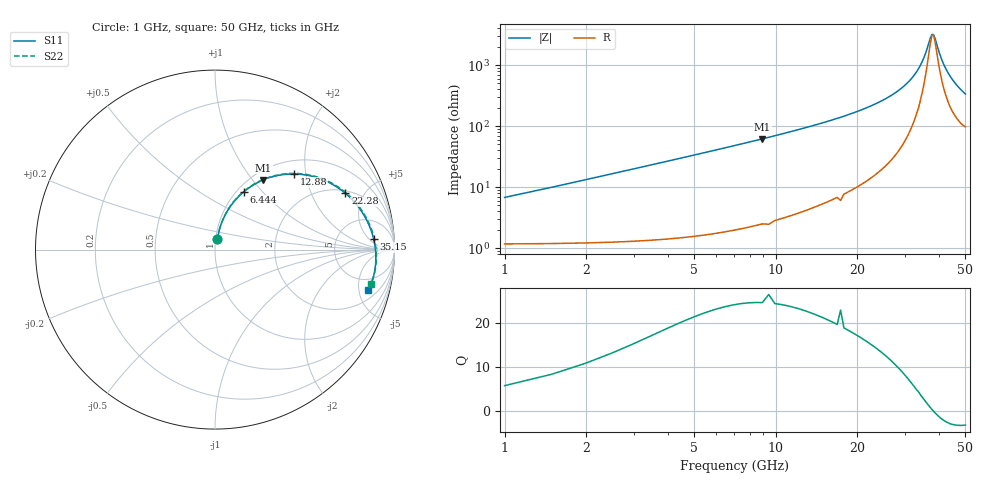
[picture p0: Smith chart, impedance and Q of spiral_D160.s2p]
! rapidmom parametric dataset (SG13G2 open stack, IHP)
! device = spiral
! family = spiral_N2
! stack = IHP SG13G2 (open PDK)
! Dout_um = 160
! width_um = 10
! spacing_um = 3
! sides = 8
! n_ports = 2
! n_dof = 4553
! cell_um = 3.333
! sweep = ROM (rational fit from adaptive anchor solves)
! rom_converged = False
! f_points = 100
! f_min_hz = 1.000e+09
! f_max_hz = 5.000e+10
! tool = rapidmom (2.5D MoM, A-EFIE)
! N = 2
# HZ S RI R 50
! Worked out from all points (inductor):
!   100 points, 1 GHz to 50 GHz, reference 50 ohm
!   read as 1/Y11, port 2 shorted: L = 1.05 nH near 1 GHz
!   highest Q = 24.8 at 8.919 GHz (marker M1), where L = 1.1 nH
!   self-resonance near 37.63 GHz
!   S11 on the Smith chart (normalised r, x): 1 GHz: 1.02, +0.12; 6.444 GHz: 1.08, +0.80; 12.88 GHz: 1.28, +1.71; 22.28 GHz: 2.16, +3.62; 35.15 GHz: 13, +7; 50 GHz: 3.03, -6.18
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1e9  0.0137 0.0576  0.982 -0.0722  0.982 -0.0722  0.0137 0.0576
1.989899e9  0.0249 0.1118  0.968 -0.1405  0.968 -0.1405  0.0241 0.1122
2.484848e9  0.034 0.1408  0.9585 -0.1713  0.9585 -0.1713  0.0332 0.1414
2.979798e9  0.0449 0.1685  0.9473 -0.2017  0.9473 -0.2017  0.0441 0.1692
3.474747e9  0.0576 0.1949  0.9345 -0.2311  0.9345 -0.2311  0.0567 0.1957
4.464646e9  0.0875 0.2437  0.9041 -0.2868  0.9041 -0.2868  0.0867 0.2447
5.454545e9  0.1227 0.2866  0.8686 -0.3372  0.8686 -0.3372  0.1218 0.2879
6.444444e9  0.1618 0.3234  0.8292 -0.3818  0.8292 -0.3818  0.1608 0.3249
8.919192e9  0.2689 0.3881  0.7207 -0.467  0.7207 -0.467  0.2678 0.3902
9.414141e9  0.2869 0.3974  0.6975 -0.4815  0.6975 -0.4815  0.2851 0.3982
1.089899e10  0.3565 0.4141  0.6319 -0.51  0.6319 -0.51  0.3551 0.4168
1.287879e10  0.4397 0.4213  0.547 -0.5347  0.547 -0.5347  0.4381 0.4247
1.584848e10  0.5506 0.406  0.4328 -0.5464  0.4328 -0.5464  0.5487 0.4104
1.733333e10  0.595 0.3944  0.3804 -0.5506  0.3804 -0.5506  0.5913 0.3987
1.782828e10  0.6138 0.3837  0.3667 -0.5428  0.3667 -0.5428  0.6117 0.389
2.228283e10  0.7266 0.3135  0.2451 -0.5165  0.2451 -0.5165  0.7239 0.3212
2.574747e10  0.79 0.2488  0.1716 -0.488  0.1716 -0.488  0.787 0.259
2.970707e10  0.8417 0.1704  0.1037 -0.4529  0.1037 -0.4529  0.839 0.1839
3.366667e10  0.8752 0.0917  0.0446 -0.4187  0.0446 -0.4187  0.8731 0.1095
3.515152e10  0.8837 0.0598  0.0288 -0.4042  0.0288 -0.4042  0.8824 0.079
4.208081e10  0.8948 -0.0804  -0.0486 -0.3409  -0.0486 -0.3409  0.899 -0.0528
5e10  0.852 -0.227  -0.121 -0.2571  -0.121 -0.2571  0.8695 -0.191
